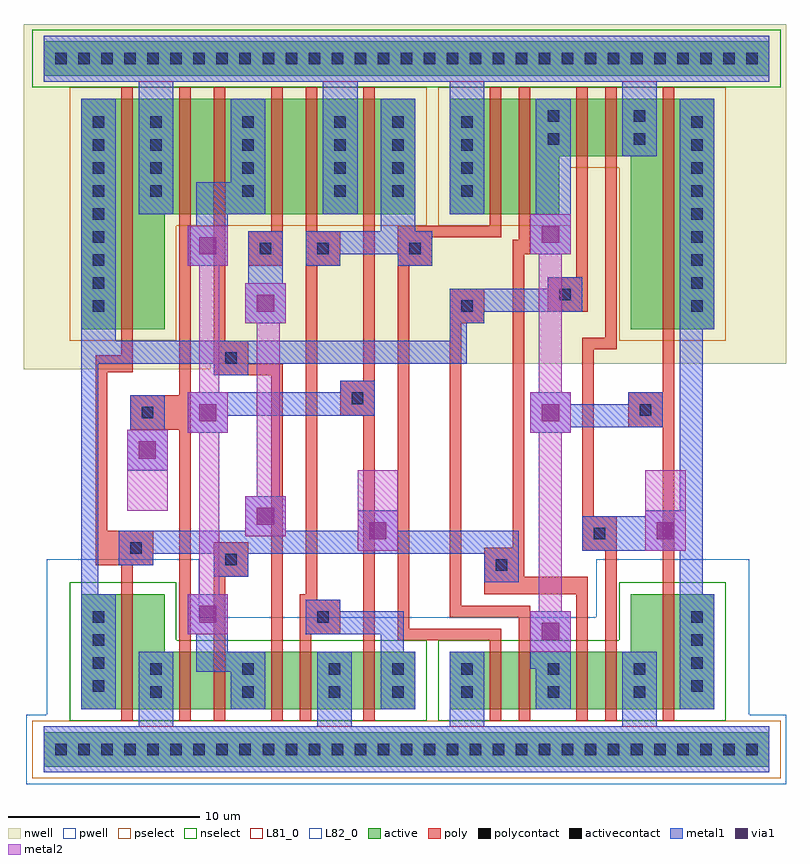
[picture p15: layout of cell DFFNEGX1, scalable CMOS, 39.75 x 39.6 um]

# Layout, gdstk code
import gdstk
lib = gdstk.Library(unit=1e-6, precision=1e-09)
def R(c, l, rs):  # rectangles x0, y0, x1, y1
    for r in rs: c.add(gdstk.rectangle(r[:2], r[2:], *l))
def A(c, l, x, y, w, h, nx, ny, dx, dy):  # array of equal rectangles
    R(c, l, [(x+i*dx, y+j*dy, x+i*dx+w, y+j*dy+h) for i in range(nx) for j in range(ny)])
pwell = (41, 0)
nwell = (42, 0)
active = (43, 0)
pselect = (44, 0)
nselect = (45, 0)
poly = (46, 0)
polycontact = (47, 0)
activecontact = (48, 0)
metal1 = (49, 0)
via1 = (50, 0)
metal2 = (51, 0)
L81_0 = (81, 0)
L82_0 = (82, 0)

dffnegx1 = lib.new_cell('DFFNEGX1')
R(dffnegx1, pwell, [(-1.8,-1.8,37.8,1.8), (-0.75,1.8,35.85,6.9), (-0.75,6.9,7.2,9.9), (27.9,6.9,35.85,9.9)])
R(dffnegx1, nwell, [(-1.95,19.8,7.8,20.1), (-1.95,20.1,37.8,37.8)])
R(dffnegx1, active, [(-0.9,-0.9,36.9,0.9), (1.05,2.1,18.45,5.1), (20.25,2.1,34.05,5.1), (1.05,5.1,5.4,8.1), (29.7,5.1,34.05,8.1), (1.05,21.9,5.4,27.9), (29.7,21.9,34.05,30.9), (1.05,27.9,18.45,33.9), (20.25,27.9,25.95,30.9), (20.25,30.9,34.05,33.9), (-0.9,35.1,36.9,36.9)])
R(dffnegx1, pselect, [(-1.5,-1.5,37.5,1.5), (0.45,21.3,6,27.3), (29.1,21.3,34.65,30.3), (0.45,27.3,19.05,34.5), (19.65,27.3,26.55,30.3), (19.65,30.3,34.65,34.5)])
R(dffnegx1, nselect, [(0.45,1.5,19.05,5.7), (19.65,1.5,34.65,5.7), (0.45,5.7,6,8.7), (29.1,5.7,34.65,8.7), (-1.5,34.5,37.5,37.5)])
R(dffnegx1, poly, [(3.15,1.5,3.75,9.6), (6.15,1.5,6.75,16.65), (7.95,1.5,8.55,9), (10.95,1.5,11.55,19.5), (12.45,1.5,13.05,6), (15.75,1.5,16.35,17.4), (22.35,1.5,22.95,5.7), (23.85,1.5,24.45,6.9), (26.85,1.5,27.45,8.1), (28.35,1.5,28.95,10.35), (31.35,1.5,31.95,16.8), (17.55,5.7,22.95,6.3), (12.45,6,14.55,7.8), (17.55,6.3,18.15,25.2), (20.25,6.9,24.45,7.5), (20.25,7.5,20.85,22.2), (12.45,7.8,13.35,8.1), (12.75,8.1,13.35,25.2), (22.05,8.1,27.45,9), (7.95,9,9.75,10.8), (22.05,9,24.15,10.5), (1.8,9.6,4.8,11.4), (27.15,10.35,28.95,12.15), (23.55,10.5,24.15,25.8), (1.8,11.4,2.4,19.65), (27.15,12.15,27.75,20.85), (3.6,16.65,6.75,18.45), (29.55,16.8,31.95,18.6), (14.55,17.4,16.35,19.2), (6.15,18.45,6.75,34.5), (31.35,18.6,31.95,34.5), (15.75,19.2,16.35,34.5), (7.95,19.5,11.55,20.1), (1.8,19.65,3.75,20.55), (7.95,20.1,9.75,21.3), (3.15,20.55,3.75,34.5), (27.15,20.85,28.95,21.45), (7.95,21.3,8.55,34.5), (28.35,21.45,28.95,34.5), (20.25,22.2,22.05,24), (25.35,22.8,27.45,24.6), (26.85,24.6,27.45,34.5), (9.75,25.2,11.55,27), (12.75,25.2,14.55,27), (17.55,25.2,19.35,26.7), (23.55,25.8,24.45,26.55), (23.85,26.55,24.45,34.5), (17.55,26.7,22.95,27.3), (10.95,27,11.55,34.5), (12.75,27,13.35,34.5), (22.35,27.3,22.95,34.5)])
R(dffnegx1, polycontact, [(13.35,6.6,13.95,7.2), (22.65,9.3,23.25,9.9), (8.55,9.6,9.15,10.2), (3.6,10.2,4.2,10.8), (27.75,10.95,28.35,11.55), (4.2,17.25,4.8,17.85), (30.15,17.4,30.75,18), (15.15,18,15.75,18.6), (8.55,20.1,9.15,20.7), (20.85,22.8,21.45,23.4), (25.95,23.4,26.55,24), (10.35,25.8,10.95,26.4), (13.35,25.8,13.95,26.4), (18.15,25.8,18.75,26.4)])
A(dffnegx1, activecontact, -0.3, -0.3, 0.6, 0.6, 31, 2, 1.2, 36)
A(dffnegx1, activecontact, 20.85, 2.7, 0.6, 0.6, 3, 2, 4.5, 1.2)
A(dffnegx1, activecontact, 1.65, 3, 0.6, 0.6, 1, 4, 0, 1.2)
A(dffnegx1, activecontact, 32.85, 3, 0.6, 0.6, 1, 4, 0, 1.2)
A(dffnegx1, activecontact, 1.65, 22.8, 0.6, 0.6, 1, 9, 0, 1.2)
A(dffnegx1, activecontact, 32.85, 22.8, 0.6, 0.6, 1, 9, 0, 1.2)
A(dffnegx1, activecontact, 4.65, 28.8, 0.6, 0.6, 3, 4, 4.8, 1.2)
A(dffnegx1, activecontact, 17.25, 28.8, 0.6, 0.6, 1, 4, 0, 1.2)
A(dffnegx1, activecontact, 20.85, 28.8, 0.6, 0.6, 1, 4, 0, 1.2)
R(dffnegx1, activecontact, [(4.65,2.7,5.25,3.3), (9.45,2.7,10.05,3.3), (13.95,2.7,14.55,3.3), (17.25,2.7,17.85,3.3), (4.65,3.9,5.25,4.5), (9.45,3.9,10.05,4.5), (13.95,3.9,14.55,4.5), (17.25,3.9,17.85,4.5), (25.35,31.5,25.95,32.1), (29.85,31.5,30.45,32.1), (25.35,32.7,25.95,33.3), (29.85,32.7,30.45,33.3)])
R(dffnegx1, metal1, [(-0.9,-1.2,36.9,1.2), (4.05,1.2,5.85,5.1), (13.35,1.2,15.15,5.1), (20.25,1.2,22.05,5.1), (29.25,1.2,31.05,5.1), (1.05,2.1,2.85,8.1), (8.85,2.1,10.65,4.05), (16.65,2.1,18.45,5.1), (24.75,2.1,26.55,4.2), (32.25,2.1,34.05,8.1), (7.05,4.05,10.65,5.1), (24.45,4.2,26.55,7.2), (7.05,5.1,8.7,6), (16.65,5.1,17.85,6), (6.6,6,8.7,8.1), (12.75,6,17.85,7.2), (12.75,7.2,14.55,7.8), (1.05,8.1,1.95,20.1), (32.25,8.1,33.45,10.35), (22.05,8.7,23.85,10.2), (7.95,9,9.75,10.2), (3,9.6,4.8,10.2), (3,10.2,23.85,11.4), (27.15,10.35,33.45,12.15), (9.6,11.4,11.7,13.2), (15.45,11.4,17.55,12.45), (30.45,12.15,33.45,12.45), (32.25,12.45,33.45,21.9), (3.45,14.55,5.55,16.65), (6.6,16.5,8.7,17.4), (24.45,16.5,26.55,16.8), (3.6,16.65,5.4,18.45), (24.45,16.8,31.35,18), (6.6,17.4,16.35,18.6), (24.45,18,26.55,18.6), (29.55,18,31.35,18.6), (14.55,18.6,16.35,19.2), (7.95,19.5,9.75,20.1), (1.05,20.1,21.15,21.3), (1.05,21.3,2.85,33.9), (20.25,21.3,21.15,22.2), (32.25,21.9,34.05,33.9), (9.6,22.2,11.7,24.3), (20.25,22.2,22.05,22.8), (20.25,22.8,27.15,24), (25.35,24,27.15,24.6), (9.75,24.3,11.55,27), (6.6,25.2,8.7,27.3), (12.75,25.2,14.55,25.8), (17.55,25.2,19.35,25.8), (12.75,25.8,19.35,27), (24.45,25.8,26.55,27.9), (16.65,27,18.45,33.9), (7.05,27.3,8.7,27.9), (4.05,27.9,5.85,34.8), (7.05,27.9,10.65,29.55), (13.65,27.9,15.45,34.8), (20.25,27.9,22.05,34.8), (24.75,27.9,26.55,33.9), (8.85,29.55,10.65,33.9), (29.25,30.9,31.05,34.8), (-0.9,34.8,36.9,37.2)])
R(dffnegx1, via1, [(25.05,5.7,25.95,6.6), (7.2,6.6,8.1,7.5), (16.05,10.95,16.95,11.85), (31.05,10.95,31.95,11.85), (10.2,11.7,11.1,12.6), (4.05,15.15,4.95,16.05), (7.2,17.1,8.1,18), (25.05,17.1,25.95,18), (10.2,22.8,11.1,23.7), (7.2,25.8,8.1,26.7), (25.05,26.4,25.95,27.3)])
R(dffnegx1, metal2, [(24.45,5.1,26.55,7.2), (6.6,6,8.7,8.1), (24.9,7.2,26.1,16.5), (7.2,8.1,8.25,16.5), (15.45,10.35,17.55,14.55), (30.45,10.35,32.55,14.55), (9.6,11.1,11.7,13.2), (3.45,12.45,5.55,16.65), (10.2,13.2,11.4,22.2), (6.6,16.5,8.7,18.6), (24.45,16.5,26.55,18.6), (7.2,18.6,8.25,25.2), (24.9,18.6,26.1,25.8), (9.6,22.2,11.7,24.3), (6.6,25.2,8.7,27.3), (24.45,25.8,26.55,27.9)])
R(dffnegx1, L81_0, [(-0.9,-1.2,36.9,1.2), (-0.9,34.8,36.9,37.2)])
R(dffnegx1, L82_0, [(3.45,12.45,5.55,14.55), (15.45,12.45,17.55,14.55), (30.45,12.45,32.55,14.55)])

lib.write_gds('DFFNEGX1.gds')
